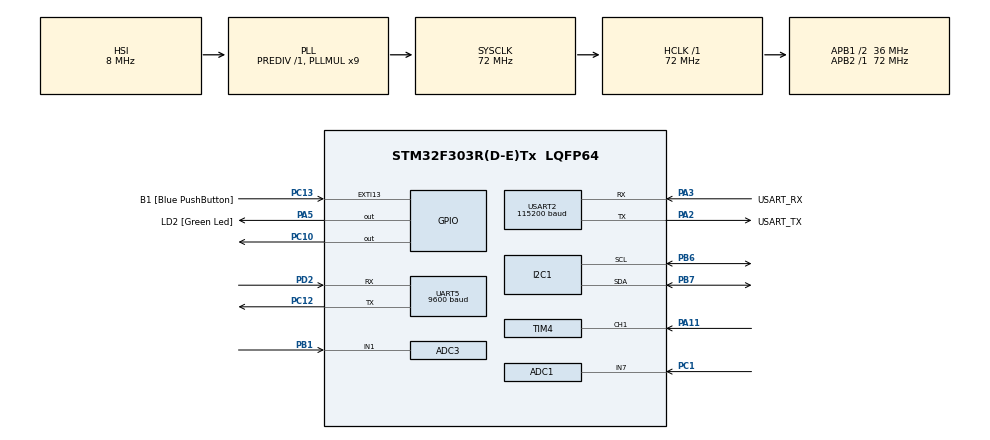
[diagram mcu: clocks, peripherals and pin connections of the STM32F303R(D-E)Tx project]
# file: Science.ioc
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ADC1.Channel-0\#ChannelRegularConversion=ADC_CHANNEL_7
ADC1.ContinuousConvMode=DISABLE
ADC1.DMAContinuousRequests=DISABLE
ADC1.NbrOfConversion=1
ADC1.NbrOfConversionFlag=1
ADC1.Offset-0\#ChannelRegularConversion=0
ADC1.OffsetNumber-0\#ChannelRegularConversion=ADC_OFFSET_NONE
ADC1.Rank-0\#ChannelRegularConversion=1
ADC1.SamplingTime-0\#ChannelRegularConversion=ADC_SAMPLETIME_1CYCLE_5
ADC1.SamplingTimeOPAMP-0\#ChannelRegularConversion=ADC_SAMPLETIME_61CYCLES_5
ADC1.master=1
ADC3.Channel-0\#ChannelRegularConversion=ADC_CHANNEL_1
ADC3.ContinuousConvMode=DISABLE
ADC3.NbrOfConversionFlag=1
ADC3.Offset-0\#ChannelRegularConversion=0
ADC3.OffsetNumber-0\#ChannelRegularConversion=ADC_OFFSET_NONE
ADC3.Rank-0\#ChannelRegularConversion=1
ADC3.SamplingTime-0\#ChannelRegularConversion=ADC_SAMPLETIME_1CYCLE_5
ADC3.SamplingTimeOPAMP-0\#ChannelRegularConversion=ADC_SAMPLETIME_61CYCLES_5
ADC3.master=1
I2C1.Timing=0x00201D2B
Mcu.Family=STM32F3
Mcu.Name=STM32F303R(D-E)Tx
Mcu.Package=LQFP64
NVIC.PriorityGroup=NVIC_PRIORITYGROUP_0
NVIC.TIM4_IRQn=true\:0\:0\:false\:false\:true\:true\:true\:true
PA11.Signal=S_TIM4_CH1
PA13.GPIO_Label=TMS
PA13.Mode=Serial_Wire
PA13.Signal=SYS_JTMS-SWDIO
PA14.GPIO_Label=TCK
PA14.Mode=Serial_Wire
PA14.Signal=SYS_JTCK-SWCLK
PA2.GPIO_Label=USART_TX
PA2.GPIO_Mode=GPIO_MODE_AF_PP
PA2.GPIO_PuPd=GPIO_NOPULL
PA2.GPIO_Speed=GPIO_SPEED_FREQ_LOW
PA2.Mode=Asynchronous
PA2.Signal=USART2_TX
PA3.GPIO_Label=USART_RX
PA3.GPIO_Mode=GPIO_MODE_AF_PP
PA3.GPIO_PuPd=GPIO_NOPULL
PA3.GPIO_Speed=GPIO_SPEED_FREQ_LOW
PA3.Mode=Asynchronous
PA3.Signal=USART2_RX
PA5.GPIO_Label=LD2 [Green Led]
PA5.GPIO_Mode=GPIO_MODE_OUTPUT_PP
PA5.GPIO_PuPd=GPIO_NOPULL
PA5.GPIO_Speed=GPIO_SPEED_FREQ_LOW
PA5.Signal=GPIO_Output
PB1.Mode=IN1-Single-Ended
PB1.Signal=ADC3_IN1
PB3.GPIO_Label=SWO
PB3.Signal=SYS_JTDO-TRACESWO
PB4.Signal=S_TIM3_CH1
PB6.Mode=I2C
PB6.Signal=I2C1_SCL
PB7.Mode=I2C
PB7.Signal=I2C1_SDA
PC1.Signal=ADCx_IN7
PC10.Signal=GPIO_Output
PC12.Mode=Asynchronous
PC12.Signal=UART5_TX
PC13.GPIO_Label=B1 [Blue PushButton]
PC13.GPIO_ModeDefaultEXTI=GPIO_MODE_IT_FALLING
PC13.Signal=GPXTI13
PC14-OSC32_IN.Mode=LSE-External-Oscillator
PC14-OSC32_IN.Signal=RCC_OSC32_IN
PC15-OSC32_OUT.Mode=LSE-External-Oscillator
PC15-OSC32_OUT.Signal=RCC_OSC32_OUT
PD2.Mode=Asynchronous
PD2.Signal=UART5_RX
PF0-OSC_IN.Mode=HSE-External-Clock-Source
PF0-OSC_IN.Signal=RCC_OSC_IN
PF1-OSC_OUT.Signal=RCC_OSC_OUT
ProjectManager.HeapSize=0x200
ProjectManager.StackSize=0x400
ProjectManager.TargetToolchain=Makefile
RCC.AHBFreq_Value=72000000
RCC.APB1CLKDivider=RCC_HCLK_DIV2
RCC.APB1Freq_Value=36000000
RCC.APB1TimFreq_Value=72000000
RCC.APB2Freq_Value=72000000
RCC.APB2TimFreq_Value=72000000
RCC.CortexFreq_Value=72000000
RCC.HCLKFreq_Value=72000000
RCC.HSE_VALUE=8000000
RCC.HSI_VALUE=8000000
RCC.PLLM=8
RCC.PLLMUL=RCC_PLL_MUL9
RCC.PLLN=336
RCC.PLLP=RCC_PLLP_DIV4
RCC.PLLQ=7
RCC.RCC_PLLsource_Clock_Source_FROM_HSE=RCC_HSE_PREDIV_DIV2
RCC.SYSCLKFreq_VALUE=72000000
RCC.SYSCLKSourceVirtual=RCC_SYSCLKSOURCE_PLLCLK
RCC.USBFreq_Value=72000000
SH.ADCx_IN7.0=ADC1_IN7,IN7-Single-Ended
SH.S_TIM3_CH1.0=TIM3_CH1
SH.S_TIM4_CH1.0=TIM4_CH1,PWM_Input_1
TIM2.Prescaler=72-1
TIM4.Prescaler=1440-1
UART5.BaudRate=9600
UART5.MSBFirstParam=UART_ADVFEATURE_MSBFIRST_DISABLE
USART2.BaudRate=115200
USART2.VirtualMode-Asynchronous=VM_ASYNC
VP_TIM2_VS_ClockSourceINT.Mode=Internal
VP_TIM4_VS_ClockSourceINT.Mode=Internal
board=NUCLEO-F303RE

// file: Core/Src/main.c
/* USER CODE BEGIN Header */
/**
  ******************************************************************************
  * @file           : main.c
  * @brief          : Main program body
  ******************************************************************************
  * @attention
  *
  * Copyright (c) 2025 STMicroelectronics.
  * All rights reserved.
  *
  * This software is licensed under terms that can be found in the LICENSE file
  * in the root directory of this software component.
  * If no LICENSE file comes with this software, it is provided AS-IS.
  *
  ******************************************************************************
  */
/* USER CODE END Header */
#include "main.h"

/* USER CODE BEGIN Includes */
#include <stdio.h>
#include <string.h>

#include "MQ135.h"			//NH3
#include "MQ4.h"			//CH4
#include "MICS-4514.h"		//NO2
#include "DTH11.h"			//Temp&Humidity
#include "BMP_180.h"		//Pressure
#include "soil-sensor.h"
/* USER CODE END Includes */

/* USER CODE BEGIN PD */
#define TICK_MS		0.02	//TIM4: Duration of one tick in miliseconds. (50kHz)
/* USER CODE END PD */

ADC_HandleTypeDef hadc1;
ADC_HandleTypeDef hadc3;

I2C_HandleTypeDef hi2c1;

TIM_HandleTypeDef htim2;
TIM_HandleTypeDef htim4;

UART_HandleTypeDef huart5;
UART_HandleTypeDef huart2;

/* USER CODE BEGIN PV */
float NH3, NO2, CO2, CH4;

uint16_t period_tick, high_tick;												//CO2
float high_ms, period_ms;														//CO2

uint8_t presence, RhByteInt, RhByteDec, TempByteInt, TempByteDec, SumCheck;  //DHT
float DHT_temp;

//BMP_180
long press;
float temp;
extern long UT;
extern long UP;

char data_buff [256];
/* USER CODE END PV */

void SystemClock_Config(void);
static void MX_GPIO_Init(void);
static void MX_USART2_UART_Init(void);
static void MX_TIM2_Init(void);
static void MX_ADC3_Init(void);
static void MX_I2C1_Init(void);
static void MX_ADC1_Init(void);
static void MX_UART5_Init(void);
static void MX_TIM4_Init(void);

/* USER CODE BEGIN 0 */

//MHZ-19 Callback Function
void HAL_TIM_IC_CaptureCallback(TIM_HandleTypeDef *htim){
	if(htim->Channel==HAL_TIM_ACTIVE_CHANNEL_1)
	{
		period_tick = HAL_TIM_ReadCapturedValue(htim, TIM_CHANNEL_1);
		high_tick = HAL_TIM_ReadCapturedValue(htim, TIM_CHANNEL_2);
	}
	high_ms = high_tick * TICK_MS;
	period_ms = period_tick * TICK_MS;
	CO2 = 2000 * (high_ms - 2) / (period_ms - 4) + 240 ;
}

/* USER CODE END 0 */

int main(void)
{

  /* MCU Configuration--------------------------------------------------------*/

  /* Reset of all peripherals, Initializes the Flash interface and the Systick. */
  HAL_Init();

  /* Configure the system clock */
  SystemClock_Config();

  /* Initialize all configured peripherals */
  MX_GPIO_Init();
  MX_USART2_UART_Init();
  MX_TIM2_Init();
  MX_ADC3_Init();
  MX_I2C1_Init();
  MX_ADC1_Init();
  MX_UART5_Init();
  MX_TIM4_Init();
  /* USER CODE BEGIN 2 */

  //PWM input in interrupt mode
  HAL_TIM_IC_Start_IT(&htim4, TIM_CHANNEL_1); // Rising edge
  HAL_TIM_IC_Start_IT(&htim4, TIM_CHANNEL_2); // Falling edge

  //HAL_Delay(1000); // wait to pass unstable status of the sensors (DHT11)
  /* USER CODE END 2 */

  /* Infinite loop */
  /* USER CODE BEGIN WHILE */
  while (1)
  {
    //HAL_GPIO_WritePin(LD2_GPIO_Port, LD2_Pin, 1);
    /* USER CODE END WHILE */

    /* USER CODE BEGIN 3 */
	  DHT11_Start();
	  presence = DHT11_Check_Response();

	  if (presence) {
		  RhByteInt   = DHT11_Read_Byte();			//Nem: tam kısım
		  RhByteDec   = DHT11_Read_Byte();			//Nem: ondalıklı kısım (sıfır geliyo)
		  TempByteInt = DHT11_Read_Byte();			//Sıcaklık: tam kısım
		  TempByteDec = DHT11_Read_Byte();			//Sıcaklık: ondalıklı kısım
		  SumCheck    = DHT11_Read_Byte();			//Önemsiz
	  }
	  DHT_temp 	   = TempByteInt +  TempByteDec / 10.0f;

	  NH3 = Read_NH3();
	  CH4 = Read_CH4();
	  NO2 = Read_NO2();

	  UT = get_ut();
	  UP = get_up();
	  temp = get_temp();
	  press= get_press() * 10 * 50;

    // CO2: 3 decimal places
    uint32_t CO2_whole = (uint32_t) CO2;
    uint32_t CO2_decimal = (uint32_t)((CO2 - CO2_whole) * 1000);

    // Gases: 5 decimal places
    uint32_t NH3_whole = (uint32_t) NH3;
    uint32_t NH3_decimal = (uint32_t)((NH3 - NH3_whole) * 100000);

    uint32_t CH4_whole = (uint32_t) CH4;
    uint32_t CH4_decimal = (uint32_t)((CH4 - CH4_whole) * 100000);

    uint32_t NO2_whole = (uint32_t) NO2;
    uint32_t NO2_decimal = (uint32_t)((NO2 - NO2_whole) * 100000);

    // Temperature: Signed (int32_t) to handle negative temperatures safely (not used)
    // Note: We didn't use absolute value for the decimal portion so negative temps format correctly
    uint32_t DHT_temp_whole = (uint32_t) DHT_temp;
    uint32_t DHT_temp_decimal = (uint32_t)((DHT_temp - DHT_temp_whole) * 100000);

    uint32_t Moisture_whole = (uint32_t) Moisture;
    uint32_t Moisture_decimal = (uint32_t)((Moisture - Moisture_decimal) * 10);

    uint32_t Temp_whole = (uint32_t) Temp;
    uint32_t Temp_decimal = (uint32_t)((Temp - Temp_whole) * 10);

    createRawSoilReading();
    // Formatted string

    /*
    snprintf(data_buff, sizeof(data_buff), "CO2: %u.%03u NH3: %u.%05u CH4: %u.%05u NO2: %u.%05u Temp: %d.%05u RH: %u Press: %ld\n, Moisture: %u.%01u Soil_Temp: %u.%01u Cond: %ld\n",
             CO2_whole, CO2_decimal,
             NH3_whole, NH3_decimal,
             CH4_whole, CH4_decimal,
             NO2_whole, NO2_decimal,
             DHT_temp_whole, DHT_temp_decimal,
             RhByteInt, press,
             Moisture_whole, Moisture_decimal,
             Temp_whole, Temp_decimal,
             Cond);
    */

snprintf(data_buff, sizeof(data_buff), "[%u.%03u,%u.%05u,%u.%05u,%u.%05u,%d.%05u,%u,%ld,%u.%01u,%u.%01u,%u,%u,%u]",
         CO2_whole, CO2_decimal,
         NH3_whole, NH3_decimal,
         CH4_whole, CH4_decimal,
         NO2_whole, NO2_decimal,
         DHT_temp_whole, DHT_temp_decimal,
         RhByteInt,
         press,
         Temp_whole, Temp_decimal,
         Moisture_whole, Moisture_decimal,
         (unsigned int)(Cond * 0.18), // n
         (unsigned int)(Cond * 0.04), // p
         (unsigned int)(Cond * 0.23)); // k

	  //HAL_UART_Transmit(&huart5, (uint8_t*)data_buff, strlen(data_buff), HAL_MAX_DELAY);
	  HAL_UART_Transmit(&huart2, (uint8_t*)data_buff, sizeof(data_buff), HAL_MAX_DELAY); //strlen burayı aç!!

	  HAL_Delay(2000);

  }
  /* USER CODE END 3 */
}

void SystemClock_Config(void)
{
  RCC_OscInitTypeDef RCC_OscInitStruct = {0};
  RCC_ClkInitTypeDef RCC_ClkInitStruct = {0};
  RCC_PeriphCLKInitTypeDef PeriphClkInit = {0};

  /** Initializes the RCC Oscillators according to the specified parameters
  * in the RCC_OscInitTypeDef structure.
  */
  RCC_OscInitStruct.OscillatorType = RCC_OSCILLATORTYPE_HSI;
  RCC_OscInitStruct.HSIState = RCC_HSI_ON;
  RCC_OscInitStruct.HSICalibrationValue = RCC_HSICALIBRATION_DEFAULT;
  RCC_OscInitStruct.PLL.PLLState = RCC_PLL_ON;
  RCC_OscInitStruct.PLL.PLLSource = RCC_PLLSOURCE_HSI;
  RCC_OscInitStruct.PLL.PLLMUL = RCC_PLL_MUL9;
  RCC_OscInitStruct.PLL.PREDIV = RCC_PREDIV_DIV1;
  if (HAL_RCC_OscConfig(&RCC_OscInitStruct) != HAL_OK)
  {
    Error_Handler();
  }

  /** Initializes the CPU, AHB and APB buses clocks
  */
  RCC_ClkInitStruct.ClockType = RCC_CLOCKTYPE_HCLK|RCC_CLOCKTYPE_SYSCLK
                              |RCC_CLOCKTYPE_PCLK1|RCC_CLOCKTYPE_PCLK2;
  RCC_ClkInitStruct.SYSCLKSource = RCC_SYSCLKSOURCE_PLLCLK;
  RCC_ClkInitStruct.AHBCLKDivider = RCC_SYSCLK_DIV1;
  RCC_ClkInitStruct.APB1CLKDivider = RCC_HCLK_DIV2;
  RCC_ClkInitStruct.APB2CLKDivider = RCC_HCLK_DIV1;

  if (HAL_RCC_ClockConfig(&RCC_ClkInitStruct, FLASH_LATENCY_2) != HAL_OK)
  {
    Error_Handler();
  }
  PeriphClkInit.PeriphClockSelection = RCC_PERIPHCLK_USART2|RCC_PERIPHCLK_UART5
                              |RCC_PERIPHCLK_I2C1|RCC_PERIPHCLK_ADC12
                              |RCC_PERIPHCLK_ADC34|RCC_PERIPHCLK_TIM2
                              |RCC_PERIPHCLK_TIM34;
  PeriphClkInit.Usart2ClockSelection = RCC_USART2CLKSOURCE_PCLK1;
  PeriphClkInit.Uart5ClockSelection = RCC_UART5CLKSOURCE_PCLK1;
  PeriphClkInit.Adc12ClockSelection = RCC_ADC12PLLCLK_DIV1;
  PeriphClkInit.Adc34ClockSelection = RCC_ADC34PLLCLK_DIV1;
  PeriphClkInit.I2c1ClockSelection = RCC_I2C1CLKSOURCE_HSI;
  PeriphClkInit.Tim2ClockSelection = RCC_TIM2CLK_HCLK;
  PeriphClkInit.Tim34ClockSelection = RCC_TIM34CLK_HCLK;
  if (HAL_RCCEx_PeriphCLKConfig(&PeriphClkInit) != HAL_OK)
  {
    Error_Handler();
  }
}

static void MX_ADC1_Init(void)
{

  ADC_MultiModeTypeDef multimode = {0};
  ADC_ChannelConfTypeDef sConfig = {0};

  /** Common config
  */
  hadc1.Instance = ADC1;
  hadc1.Init.ClockPrescaler = ADC_CLOCK_ASYNC_DIV1;
  hadc1.Init.Resolution = ADC_RESOLUTION_12B;
  hadc1.Init.ScanConvMode = ADC_SCAN_DISABLE;
  hadc1.Init.ContinuousConvMode = DISABLE;
  hadc1.Init.DiscontinuousConvMode = DISABLE;
  hadc1.Init.ExternalTrigConvEdge = ADC_EXTERNALTRIGCONVEDGE_NONE;
  hadc1.Init.ExternalTrigConv = ADC_SOFTWARE_START;
  hadc1.Init.DataAlign = ADC_DATAALIGN_RIGHT;
  hadc1.Init.NbrOfConversion = 1;
  hadc1.Init.DMAContinuousRequests = DISABLE;
  hadc1.Init.EOCSelection = ADC_EOC_SINGLE_CONV;
  hadc1.Init.LowPowerAutoWait = DISABLE;
  hadc1.Init.Overrun = ADC_OVR_DATA_OVERWRITTEN;
  if (HAL_ADC_Init(&hadc1) != HAL_OK)
  {
    Error_Handler();
  }

  /** Configure the ADC multi-mode
  */
  multimode.Mode = ADC_MODE_INDEPENDENT;
  if (HAL_ADCEx_MultiModeConfigChannel(&hadc1, &multimode) != HAL_OK)
  {
    Error_Handler();
  }

  /** Configure Regular Channel
  */
  sConfig.Channel = ADC_CHANNEL_7;
  sConfig.Rank = ADC_REGULAR_RANK_1;
  sConfig.SingleDiff = ADC_SINGLE_ENDED;
  sConfig.SamplingTime = ADC_SAMPLETIME_1CYCLE_5;
  sConfig.OffsetNumber = ADC_OFFSET_NONE;
  sConfig.Offset = 0;
  if (HAL_ADC_ConfigChannel(&hadc1, &sConfig) != HAL_OK)
  {
    Error_Handler();
  }

}

static void MX_ADC3_Init(void)
{

  ADC_MultiModeTypeDef multimode = {0};
  ADC_ChannelConfTypeDef sConfig = {0};

  /** Common config
  */
  hadc3.Instance = ADC3;
  hadc3.Init.ClockPrescaler = ADC_CLOCK_ASYNC_DIV1;
  hadc3.Init.Resolution = ADC_RESOLUTION_12B;
  hadc3.Init.ScanConvMode = ADC_SCAN_DISABLE;
  hadc3.Init.ContinuousConvMode = DISABLE;
  hadc3.Init.DiscontinuousConvMode = DISABLE;
  hadc3.Init.ExternalTrigConvEdge = ADC_EXTERNALTRIGCONVEDGE_NONE;
  hadc3.Init.ExternalTrigConv = ADC_SOFTWARE_START;
  hadc3.Init.DataAlign = ADC_DATAALIGN_RIGHT;
  hadc3.Init.NbrOfConversion = 1;
  hadc3.Init.DMAContinuousRequests = DISABLE;
  hadc3.Init.EOCSelection = ADC_EOC_SINGLE_CONV;
  hadc3.Init.LowPowerAutoWait = DISABLE;
  hadc3.Init.Overrun = ADC_OVR_DATA_OVERWRITTEN;
  if (HAL_ADC_Init(&hadc3) != HAL_OK)
  {
    Error_Handler();
  }

  /** Configure the ADC multi-mode
  */
  multimode.Mode = ADC_MODE_INDEPENDENT;
  if (HAL_ADCEx_MultiModeConfigChannel(&hadc3, &multimode) != HAL_OK)
  {
    Error_Handler();
  }

  /** Configure Regular Channel
  */
  sConfig.Channel = ADC_CHANNEL_1;
  sConfig.Rank = ADC_REGULAR_RANK_1;
  sConfig.SingleDiff = ADC_SINGLE_ENDED;
  sConfig.SamplingTime = ADC_SAMPLETIME_1CYCLE_5;
  sConfig.OffsetNumber = ADC_OFFSET_NONE;
  sConfig.Offset = 0;
  if (HAL_ADC_ConfigChannel(&hadc3, &sConfig) != HAL_OK)
  {
    Error_Handler();
  }

}

static void MX_I2C1_Init(void)
{

  hi2c1.Instance = I2C1;
  hi2c1.Init.Timing = 0x00201D2B;
  hi2c1.Init.OwnAddress1 = 0;
  hi2c1.Init.AddressingMode = I2C_ADDRESSINGMODE_7BIT;
  hi2c1.Init.DualAddressMode = I2C_DUALADDRESS_DISABLE;
  hi2c1.Init.OwnAddress2 = 0;
  hi2c1.Init.OwnAddress2Masks = I2C_OA2_NOMASK;
  hi2c1.Init.GeneralCallMode = I2C_GENERALCALL_DISABLE;
  hi2c1.Init.NoStretchMode = I2C_NOSTRETCH_DISABLE;
  if (HAL_I2C_Init(&hi2c1) != HAL_OK)
  {
    Error_Handler();
  }

  /** Configure Analogue filter
  */
  if (HAL_I2CEx_ConfigAnalogFilter(&hi2c1, I2C_ANALOGFILTER_ENABLE) != HAL_OK)
  {
    Error_Handler();
  }

  /** Configure Digital filter
  */
  if (HAL_I2CEx_ConfigDigitalFilter(&hi2c1, 0) != HAL_OK)
  {
    Error_Handler();
  }

}

static void MX_TIM2_Init(void)
{

  TIM_ClockConfigTypeDef sClockSourceConfig = {0};
  TIM_MasterConfigTypeDef sMasterConfig = {0};

  htim2.Instance = TIM2;
  htim2.Init.Prescaler = 72-1;
  htim2.Init.CounterMode = TIM_COUNTERMODE_UP;
  htim2.Init.Period = 4294967295;
  htim2.Init.ClockDivision = TIM_CLOCKDIVISION_DIV1;
  htim2.Init.AutoReloadPreload = TIM_AUTORELOAD_PRELOAD_DISABLE;
  if (HAL_TIM_Base_Init(&htim2) != HAL_OK)
  {
    Error_Handler();
  }
  sClockSourceConfig.ClockSource = TIM_CLOCKSOURCE_INTERNAL;
  if (HAL_TIM_ConfigClockSource(&htim2, &sClockSourceConfig) != HAL_OK)
  {
    Error_Handler();
  }
  sMasterConfig.MasterOutputTrigger = TIM_TRGO_RESET;
  sMasterConfig.MasterSlaveMode = TIM_MASTERSLAVEMODE_DISABLE;
  if (HAL_TIMEx_MasterConfigSynchronization(&htim2, &sMasterConfig) != HAL_OK)
  {
    Error_Handler();
  }

}

static void MX_TIM4_Init(void)
{

  TIM_ClockConfigTypeDef sClockSourceConfig = {0};
  TIM_SlaveConfigTypeDef sSlaveConfig = {0};
  TIM_IC_InitTypeDef sConfigIC = {0};
  TIM_MasterConfigTypeDef sMasterConfig = {0};

  htim4.Instance = TIM4;
  htim4.Init.Prescaler = 1440-1;
  htim4.Init.CounterMode = TIM_COUNTERMODE_UP;
  htim4.Init.Period = 65535;
  htim4.Init.ClockDivision = TIM_CLOCKDIVISION_DIV1;
  htim4.Init.AutoReloadPreload = TIM_AUTORELOAD_PRELOAD_DISABLE;
  if (HAL_TIM_Base_Init(&htim4) != HAL_OK)
  {
    Error_Handler();
  }
  sClockSourceConfig.ClockSource = TIM_CLOCKSOURCE_INTERNAL;
  if (HAL_TIM_ConfigClockSource(&htim4, &sClockSourceConfig) != HAL_OK)
  {
    Error_Handler();
  }
  if (HAL_TIM_IC_Init(&htim4) != HAL_OK)
  {
    Error_Handler();
  }
  sSlaveConfig.SlaveMode = TIM_SLAVEMODE_RESET;
  sSlaveConfig.InputTrigger = TIM_TS_TI1FP1;
  sSlaveConfig.TriggerPolarity = TIM_INPUTCHANNELPOLARITY_RISING;
  sSlaveConfig.TriggerPrescaler = TIM_ICPSC_DIV1;
  sSlaveConfig.TriggerFilter = 0;
  if (HAL_TIM_SlaveConfigSynchro(&htim4, &sSlaveConfig) != HAL_OK)
  {
    Error_Handler();
  }
  sConfigIC.ICPolarity = TIM_INPUTCHANNELPOLARITY_RISING;
  sConfigIC.ICSelection = TIM_ICSELECTION_DIRECTTI;
  sConfigIC.ICPrescaler = TIM_ICPSC_DIV1;
  sConfigIC.ICFilter = 0;
  if (HAL_TIM_IC_ConfigChannel(&htim4, &sConfigIC, TIM_CHANNEL_1) != HAL_OK)
  {
    Error_Handler();
  }
  sConfigIC.ICPolarity = TIM_INPUTCHANNELPOLARITY_FALLING;
  sConfigIC.ICSelection = TIM_ICSELECTION_INDIRECTTI;
  if (HAL_TIM_IC_ConfigChannel(&htim4, &sConfigIC, TIM_CHANNEL_2) != HAL_OK)
  {
    Error_Handler();
  }
  sMasterConfig.MasterOutputTrigger = TIM_TRGO_RESET;
  sMasterConfig.MasterSlaveMode = TIM_MASTERSLAVEMODE_DISABLE;
  if (HAL_TIMEx_MasterConfigSynchronization(&htim4, &sMasterConfig) != HAL_OK)
  {
    Error_Handler();
  }

}

static void MX_UART5_Init(void)
{

  huart5.Instance = UART5;
  huart5.Init.BaudRate = 9600;
  huart5.Init.WordLength = UART_WORDLENGTH_8B;
  huart5.Init.StopBits = UART_STOPBITS_1;
  huart5.Init.Parity = UART_PARITY_NONE;
  huart5.Init.Mode = UART_MODE_TX_RX;
  huart5.Init.HwFlowCtl = UART_HWCONTROL_NONE;
  huart5.Init.OverSampling = UART_OVERSAMPLING_16;
  huart5.Init.OneBitSampling = UART_ONE_BIT_SAMPLE_DISABLE;
  huart5.AdvancedInit.AdvFeatureInit = UART_ADVFEATURE_NO_INIT;
  if (HAL_UART_Init(&huart5) != HAL_OK)
  {
    Error_Handler();
  }

}

static void MX_USART2_UART_Init(void)
{

  huart2.Instance = USART2;
  huart2.Init.BaudRate = 115200;
  huart2.Init.WordLength = UART_WORDLENGTH_8B;
  huart2.Init.StopBits = UART_STOPBITS_1;
  huart2.Init.Parity = UART_PARITY_NONE;
  huart2.Init.Mode = UART_MODE_TX_RX;
  huart2.Init.HwFlowCtl = UART_HWCONTROL_NONE;
  huart2.Init.OverSampling = UART_OVERSAMPLING_16;
  huart2.Init.OneBitSampling = UART_ONE_BIT_SAMPLE_DISABLE;
  huart2.AdvancedInit.AdvFeatureInit = UART_ADVFEATURE_NO_INIT;
  if (HAL_UART_Init(&huart2) != HAL_OK)
  {
    Error_Handler();
  }

}

static void MX_GPIO_Init(void)
{
  GPIO_InitTypeDef GPIO_InitStruct = {0};

  /* GPIO Ports Clock Enable */
  __HAL_RCC_GPIOC_CLK_ENABLE();
  __HAL_RCC_GPIOF_CLK_ENABLE();
  __HAL_RCC_GPIOA_CLK_ENABLE();
  __HAL_RCC_GPIOB_CLK_ENABLE();
  __HAL_RCC_GPIOD_CLK_ENABLE();

  /*Configure GPIO pin Output Level */
  HAL_GPIO_WritePin(LD2_GPIO_Port, LD2_Pin, GPIO_PIN_RESET);

  /*Configure GPIO pin Output Level */
  HAL_GPIO_WritePin(GPIOC, GPIO_PIN_10, GPIO_PIN_RESET);

  /*Configure GPIO pin : B1_Pin */
  GPIO_InitStruct.Pin = B1_Pin;
  GPIO_InitStruct.Mode = GPIO_MODE_IT_FALLING;
  GPIO_InitStruct.Pull = GPIO_NOPULL;
  HAL_GPIO_Init(B1_GPIO_Port, &GPIO_InitStruct);

  /*Configure GPIO pin : LD2_Pin */
  GPIO_InitStruct.Pin = LD2_Pin;
  GPIO_InitStruct.Mode = GPIO_MODE_OUTPUT_PP;
  GPIO_InitStruct.Pull = GPIO_NOPULL;
  GPIO_InitStruct.Speed = GPIO_SPEED_FREQ_LOW;
  HAL_GPIO_Init(LD2_GPIO_Port, &GPIO_InitStruct);

  /*Configure GPIO pin : PC10 */
  GPIO_InitStruct.Pin = GPIO_PIN_10;
  GPIO_InitStruct.Mode = GPIO_MODE_OUTPUT_PP;
  GPIO_InitStruct.Pull = GPIO_NOPULL;
  GPIO_InitStruct.Speed = GPIO_SPEED_FREQ_LOW;
  HAL_GPIO_Init(GPIOC, &GPIO_InitStruct);

  /*Configure GPIO pin : PB4 */
  GPIO_InitStruct.Pin = GPIO_PIN_4;
  GPIO_InitStruct.Mode = GPIO_MODE_AF_PP;
  GPIO_InitStruct.Pull = GPIO_NOPULL;
  GPIO_InitStruct.Speed = GPIO_SPEED_FREQ_LOW;
  GPIO_InitStruct.Alternate = GPIO_AF2_TIM3;
  HAL_GPIO_Init(GPIOB, &GPIO_InitStruct);

}

void Error_Handler(void)
{
  __disable_irq();
  while (1)
  {
  }
}
